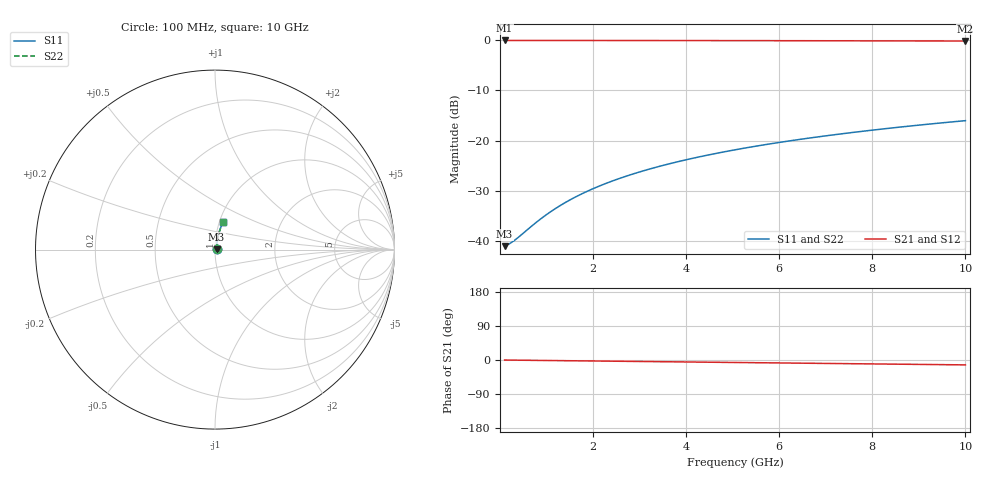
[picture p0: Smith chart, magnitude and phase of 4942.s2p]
# Hz S RI R 50.00
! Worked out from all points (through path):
!   100 points, 100 MHz to 10 GHz, reference 50 ohm
!   highest |S21| = -0.08 dB at 100 MHz (marker M1); lowest = -0.2 dB at 10 GHz (marker M2)
!   group delay of S21, straight-line fit = 3.58 ps
!   lowest |S11| = -41.0 dB at 100 MHz (marker M3), VSWR 1.02, Z = 50.9 + j0.161 ohm
!   |S11| at or under -10 dB: start of sweep to end of sweep
!   |S22| runs from -41.0 to -16.0 dB; largest |S21 - S12| = 0
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1e8  0.00877 0.00158  0.9912 -0.00224  0.9912 -0.00224  0.00877 0.00158
2e8  0.00883 0.00316  0.9912 -0.00448  0.9912 -0.00448  0.00883 0.00316
3e8  0.00889 0.00473  0.9911 -0.00672  0.9911 -0.00672  0.00889 0.00473
4e8  0.00895 0.00631  0.991 -0.00897  0.991 -0.00897  0.00895 0.00631
8e8  0.00922 0.0126  0.9908 -0.0179  0.9908 -0.0179  0.00922 0.0126
1.1e9  0.00948 0.0173  0.9905 -0.0246  0.9905 -0.0246  0.00948 0.0173
1.4e9  0.00979 0.0221  0.9902 -0.0314  0.9902 -0.0314  0.00979 0.0221
1.6e9  0.01 0.0252  0.9899 -0.0358  0.9899 -0.0358  0.01 0.0252
1.8e9  0.0103 0.0284  0.9896 -0.0403  0.9896 -0.0403  0.0103 0.0284
2.1e9  0.0107 0.0331  0.9891 -0.047  0.9891 -0.047  0.0107 0.0331
2.5e9  0.0114 0.0393  0.9884 -0.0559  0.9884 -0.0559  0.0114 0.0393
2.9e9  0.0122 0.0456  0.9875 -0.0648  0.9875 -0.0648  0.0122 0.0456
3.4e9  0.0134 0.0534  0.9863 -0.0759  0.9863 -0.0759  0.0134 0.0534
3.8e9  0.0145 0.0596  0.9852 -0.0848  0.9852 -0.0848  0.0145 0.0596
4.2e9  0.0156 0.0658  0.984 -0.0937  0.984 -0.0937  0.0156 0.0658
4.6e9  0.0169 0.0719  0.9826 -0.1025  0.9826 -0.1025  0.0169 0.0719
5.1e9  0.0186 0.0796  0.9808 -0.1135  0.9808 -0.1135  0.0186 0.0796
5.9e9  0.0218 0.0917  0.9774 -0.1309  0.9774 -0.1309  0.0218 0.0917
6.7e9  0.0254 0.1037  0.9736 -0.1483  0.9736 -0.1483  0.0254 0.1037
7.5e9  0.0293 0.1156  0.9694 -0.1655  0.9694 -0.1655  0.0293 0.1156
8.4e9  0.0343 0.1287  0.964 -0.1847  0.964 -0.1847  0.0343 0.1287
1e10  0.0445 0.1515  0.9533 -0.2181  0.9533 -0.2181  0.0445 0.1515
